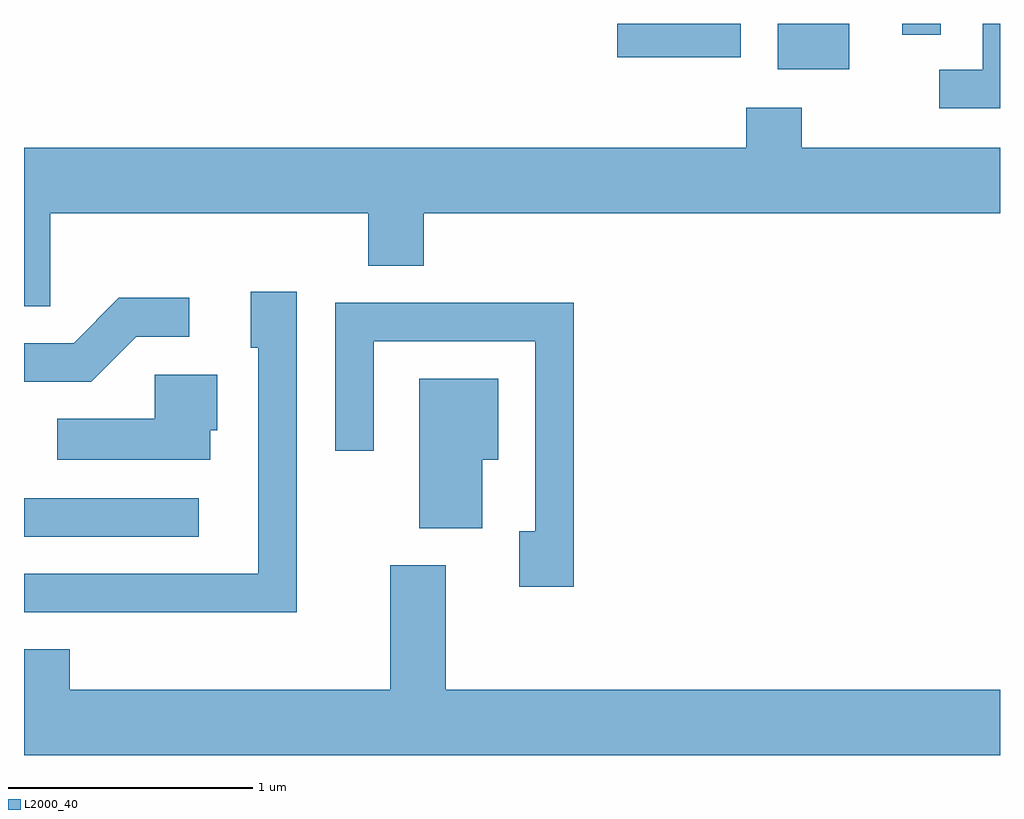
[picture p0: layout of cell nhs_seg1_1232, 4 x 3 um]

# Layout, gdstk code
import gdstk
lib = gdstk.Library(unit=1e-6, precision=1e-09)
def R(c, l, rs):  # rectangles x0, y0, x1, y1
    for r in rs: c.add(gdstk.rectangle(r[:2], r[2:], *l))
def P(c, l, *ps):  # polygons
    for p in ps: c.add(gdstk.Polygon(p, *l))
L2000_40 = (2000, 40)

nhs_seg1_1232 = lib.new_cell('nhs_seg1_1232')
R(nhs_seg1_1232, L2000_40, [(223.611,871.611,224.328,871.769), (226.701,873.526,226.994,873.712), (226.043,873.576,226.549,873.712), (227.211,873.668,227.369,873.712)])
P(nhs_seg1_1232, L2000_40, [(227.611,873.712),(227.541,873.712),(227.541,873.524),(227.363,873.524),(227.363,873.366),(227.611,873.366)],
  [(223.719,872.936),(225.021,872.936),(225.021,872.721),(225.249,872.721),(225.249,872.936),(227.611,872.936),(227.611,873.204),(226.799,873.204),(226.799,873.369),(226.571,873.369),(226.571,873.204),(223.611,873.204),(223.611,872.556),(223.719,872.556)],
  [(224.729,872.614),(224.541,872.614),(224.541,872.386),(224.571,872.386),(224.571,871.459),(223.611,871.459),(223.611,871.301),(224.729,871.301)],
  [(224.072,872.431),(224.288,872.431),(224.288,872.589),(223.999,872.589),(223.814,872.404),(223.611,872.404),(223.611,872.246),(223.887,872.246)],
  [(225.864,872.569),(224.886,872.569),(224.886,871.963),(225.044,871.963),(225.044,872.411),(225.706,872.411),(225.706,871.634),(225.641,871.634),(225.641,871.406),(225.864,871.406)],
  [(224.374,872.046),(224.404,872.046),(224.404,872.274),(224.146,872.274),(224.146,872.094),(223.748,872.094),(223.748,871.926),(224.374,871.926)],
  [(225.489,871.926),(225.554,871.926),(225.554,872.259),(225.231,872.259),(225.231,871.646),(225.489,871.646)],
  [(227.611,870.984),(225.339,870.984),(225.339,871.494),(225.111,871.494),(225.111,870.984),(223.799,870.984),(223.799,871.149),(223.611,871.149),(223.611,870.716),(227.611,870.716)])

lib.write_gds('nhs_seg1_1232.gds')
